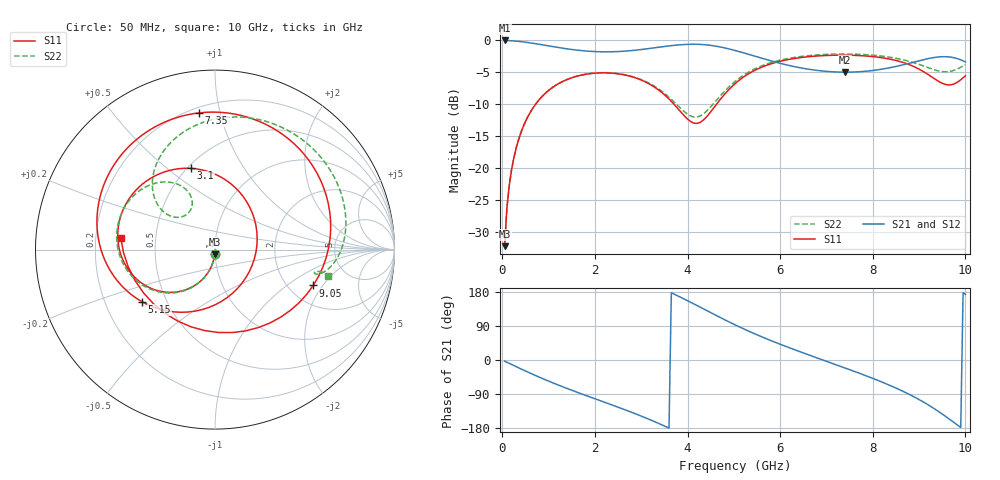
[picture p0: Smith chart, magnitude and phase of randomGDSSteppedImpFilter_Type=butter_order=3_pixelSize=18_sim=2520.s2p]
! freq	dB(S11)	phase(S11)	dB(S12)	phase(S12)
!  dB(S21)	phase(S21)	dB(S22)	phase(S22)
!S-par simulation data
#  GHz  S  DB  R 50
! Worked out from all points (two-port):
!   200 points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, 50 MHz to 10 GHz, reference 50 ohm
!   highest |S21| = -0.01 dB at 50 MHz (marker M1); lowest = -5.0 dB at 7.4 GHz (marker M2)
!   |S21| within 3 dB of the highest: start of sweep to 5.708 GHz; 9.096 GHz to 9.889 GHz (793.7 MHz wide, 8.36 % of centre)
!   lowest |S11| = -32.2 dB at 50 MHz (marker M3), VSWR 1.05, Z = 49.8 - j2.46 ohm
!   |S11| at or under -10 dB: start of sweep to 716.9 MHz; 3.711 GHz to 4.623 GHz (912.4 MHz wide, 21.9 % of centre)
!   |S22| runs from -32.2 to -2.1 dB; largest |S21 - S12| = 0
!   S11 on the Smith chart (normalised r, x): 50 MHz: 1.00, -0.05; 3.1 GHz: 0.52, +0.61; 5.15 GHz: 0.36, -0.28; 7.35 GHz: 0.23, +0.86; 9.05 GHz: 2.70, -1.63; 10 GHz: 0.31, +0.06
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0.05  -32.15 -93.0  -0.01 -3.0  -0.01 -3.0  -32.16 -93.0
0.1  -26.16 -96.2  -0.02 -6.0  -0.02 -6.0  -26.16 -96.1
0.2  -20.22 -102.4  -0.06 -11.8  -0.06 -11.8  -20.22 -102.2
0.5  -12.68 -119.8  -0.28 -29.1  -0.28 -29.1  -12.68 -119.4
1.05  -7.54 -149.4  -0.92 -58.2  -0.92 -58.2  -7.53 -148.1
1.75  -5.36 176.6  -1.62 -91.2  -1.62 -91.2  -5.35 -180.0
2.4  -5.14 145.6  -1.77 -120.0  -1.77 -120.0  -5.12 153.7
3.1  -6.52 106.5  -1.34 -153.0  -1.34 -153.0  -6.44 127.8
3.4  -7.88 84.7  -1.05 -168.6  -1.05 -168.6  -7.72 118.9
4.15  -12.94 -12.7  -0.60 147.2  -0.60 147.2  -11.98 127.2
4.6  -10.22 -90.2  -0.89 118.7  -0.89 118.7  -9.56 143.7
5.05  -6.61 -136.5  -1.62 91.4  -1.62 91.4  -6.28 135.8
5.15  -6.03 -144.4  -1.82 85.6  -1.82 85.6  -5.73 132.4
5.9  -3.45 168.1  -3.39 46.4  -3.39 46.4  -3.27 102.9
6.7  -2.49 127.9  -4.60 9.8  -4.60 9.8  -2.32 71.0
7.35  -2.30 96.6  -4.96 -18.7  -4.96 -18.7  -2.12 46.1
7.4  -2.31 94.1  -4.96 -21.0  -4.96 -21.0  -2.12 44.3
8.35  -2.90 40.4  -4.30 -66.0  -4.30 -66.0  -2.60 10.3
8.75  -3.68 9.9  -3.64 -88.4  -3.64 -88.4  -3.20 -2.3
9.05  -4.69 -20.0  -3.09 -107.8  -3.09 -107.8  -3.88 -9.8
9.55  -6.84 -97.1  -2.54 -146.8  -2.54 -146.8  -4.90 -13.2
10  -5.54 173.0  -3.36 173.0  -3.36 173.0  -3.81 -13.0
